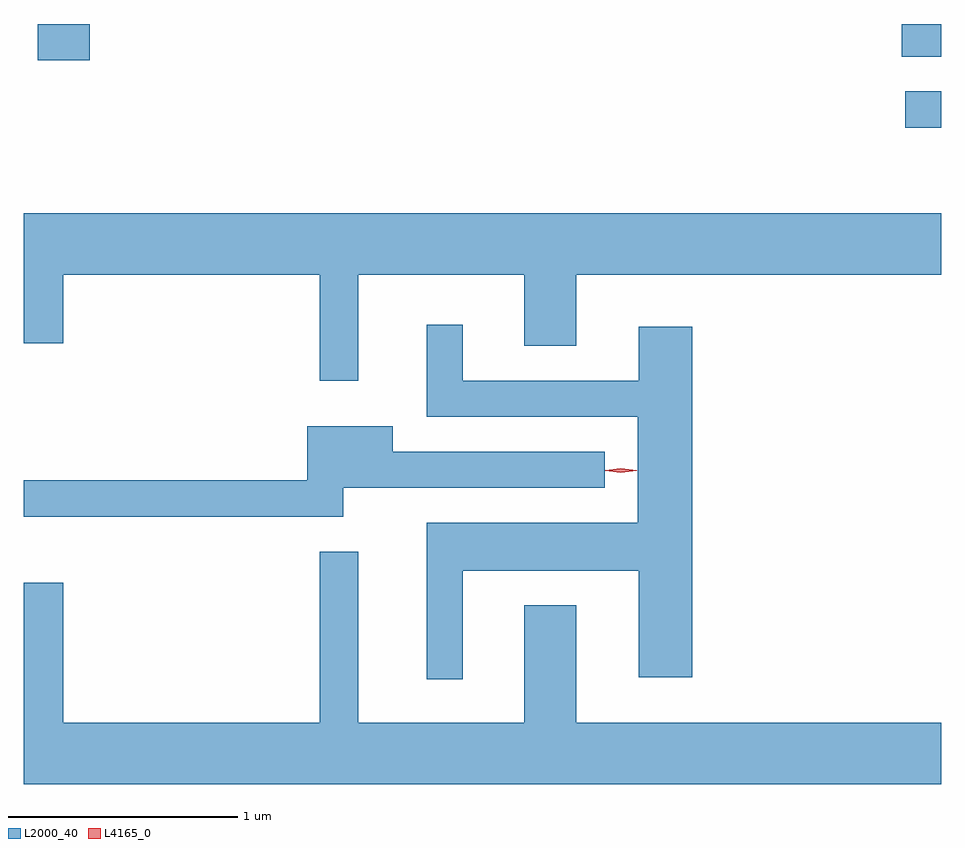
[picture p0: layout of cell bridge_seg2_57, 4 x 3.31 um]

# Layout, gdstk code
import gdstk
lib = gdstk.Library(unit=1e-6, precision=1e-09)
def R(c, l, rs):  # rectangles x0, y0, x1, y1
    for r in rs: c.add(gdstk.rectangle(r[:2], r[2:], *l))
def P(c, l, *ps):  # polygons
    for p in ps: c.add(gdstk.Polygon(p, *l))
L2000_40 = (2000, 40)
L4165_0 = (4165, 0)

bridge_seg2_57 = lib.new_cell('bridge_seg2_57')
R(bridge_seg2_57, L2000_40, [(1277.953,1055.616,1278.11,1055.774), (1274.171,1055.911,1274.399,1056.068), (1277.936,1055.926,1278.11,1056.068)])
P(bridge_seg2_57, L2000_40, [(1275.569,1054.976),(1276.291,1054.976),(1276.291,1054.666),(1276.519,1054.666),(1276.519,1054.976),(1278.11,1054.976),(1278.11,1055.244),(1274.11,1055.244),(1274.11,1054.676),(1274.284,1054.676),(1274.284,1054.976),(1275.401,1054.976),(1275.401,1054.513),(1275.569,1054.513)],
  [(1276.024,1053.686),(1276.791,1053.686),(1276.791,1053.221),(1277.024,1053.221),(1277.024,1054.749),(1276.791,1054.749),(1276.791,1054.514),(1276.024,1054.514),(1276.024,1054.758),(1275.866,1054.758),(1275.866,1054.356),(1276.786,1054.356),(1276.786,1053.894),(1275.866,1053.894),(1275.866,1053.213),(1276.024,1053.213)],
  [(1275.504,1054.046),(1276.643,1054.046),(1276.643,1054.204),(1275.719,1054.204),(1275.719,1054.314),(1275.346,1054.314),(1275.346,1054.079),(1274.11,1054.079),(1274.11,1053.921),(1275.504,1053.921)],
  [(1278.11,1053.024),(1276.519,1053.024),(1276.519,1053.534),(1276.291,1053.534),(1276.291,1053.024),(1275.569,1053.024),(1275.569,1053.768),(1275.401,1053.768),(1275.401,1053.024),(1274.284,1053.024),(1274.284,1053.634),(1274.11,1053.634),(1274.11,1052.756),(1278.11,1052.756)])
P(bridge_seg2_57, L4165_0, [(1276.713,1054.113),(1276.644,1054.122),(1276.644,1054.123),(1276.644,1054.123),(1276.713,1054.133),(1276.782,1054.123),(1276.783,1054.123),(1276.782,1054.122)],
  [(1276.713,1054.113),(1276.648,1054.122),(1276.647,1054.123),(1276.648,1054.123),(1276.713,1054.133),(1276.779,1054.123),(1276.78,1054.123),(1276.779,1054.122)])

lib.write_gds('bridge_seg2_57.gds')
